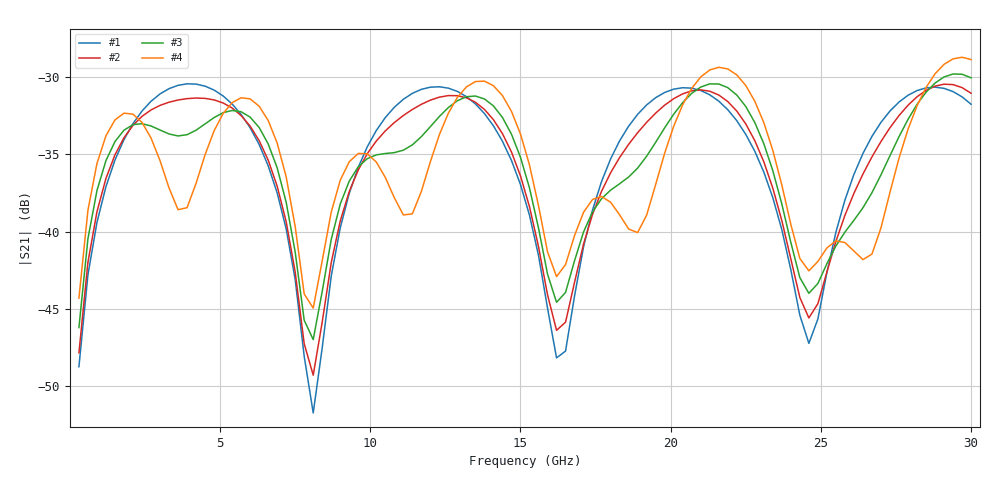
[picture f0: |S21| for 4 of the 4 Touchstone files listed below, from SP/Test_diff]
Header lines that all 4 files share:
# hz S ri R 50
! 2 Port Network Data from SP1.SP block
! freq  reS11  imS11  reS21  imS21  reS12  imS12  reS22  imS22
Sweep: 300 MHz to 30 GHz
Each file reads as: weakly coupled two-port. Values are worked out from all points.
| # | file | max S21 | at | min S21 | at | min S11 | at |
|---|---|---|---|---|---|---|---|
| 1 | S11_input_50.s2p | -30.42 dB | 3.9 GHz | -51.8 dB | 8.1 GHz | -28.2 dB | 5.7 GHz |
| 2 | S11_input_100.s2p | -30.44 dB | 29.1 GHz | -49.3 dB | 8.1 GHz | -11.4 dB | 14.7 GHz |
| 3 | S11_input_200.s2p | -29.78 dB | 29.4 GHz | -47.0 dB | 8.1 GHz | -6.9 dB | 30 GHz |
| 4 | S11_input_400.s2p | -28.70 dB | 29.7 GHz | -45.0 dB | 8.1 GHz | -4.5 dB | 30 GHz |
